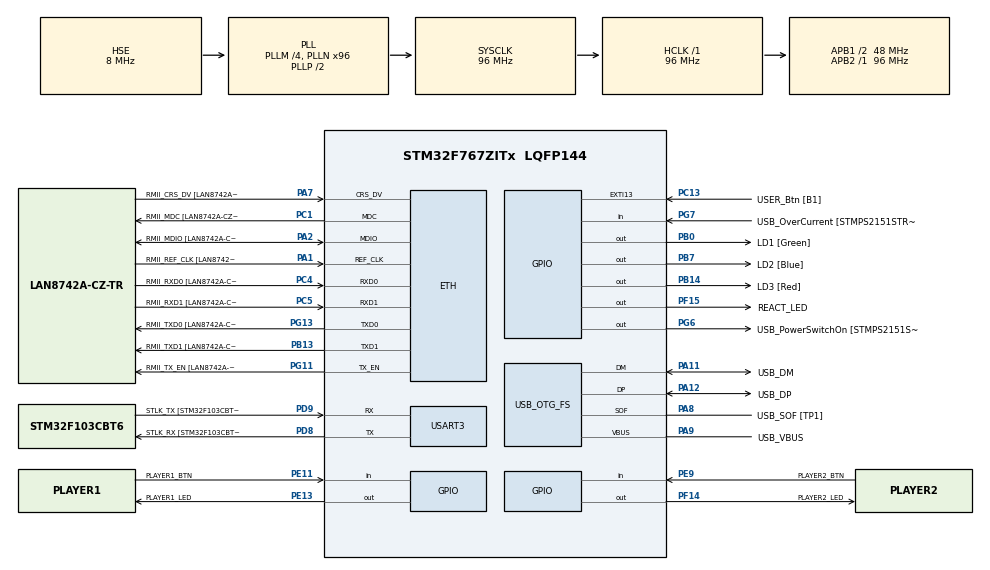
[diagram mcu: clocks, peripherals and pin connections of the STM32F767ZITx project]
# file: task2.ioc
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ETH.MediaInterface=HAL_ETH_RMII_MODE
ETH.PHY_Name=LAN8742A_PHY_ADDRESS
ETH.PHY_Value=0
ETH.PhyAddress=0
Mcu.Family=STM32F7
Mcu.Name=STM32F767ZITx
Mcu.Package=LQFP144
NVIC.PriorityGroup=NVIC_PRIORITYGROUP_4
PA1.GPIO_Label=RMII_REF_CLK [LAN8742A-CZ-TR_REFCLK0]
PA1.Mode=RMII
PA1.Signal=ETH_REF_CLK
PA10.GPIO_Label=USB_ID
PA10.Signal=USB_OTG_FS_ID
PA11.GPIO_Label=USB_DM
PA11.Mode=Device_Only
PA11.Signal=USB_OTG_FS_DM
PA12.GPIO_Label=USB_DP
PA12.Mode=Device_Only
PA12.Signal=USB_OTG_FS_DP
PA13.GPIO_Label=TMS
PA13.Mode=Serial_Wire
PA13.Signal=SYS_JTMS-SWDIO
PA14.GPIO_Label=TCK
PA14.Mode=Serial_Wire
PA14.Signal=SYS_JTCK-SWCLK
PA2.GPIO_Label=RMII_MDIO [LAN8742A-CZ-TR_MDIO]
PA2.Mode=RMII
PA2.Signal=ETH_MDIO
PA7.GPIO_Label=RMII_CRS_DV [LAN8742A-CZ-TR_CRS_DV]
PA7.Mode=RMII
PA7.Signal=ETH_CRS_DV
PA8.GPIO_Label=USB_SOF [TP1]
PA8.Mode=Activate_SOF_FS
PA8.Signal=USB_OTG_FS_SOF
PA9.GPIO_Label=USB_VBUS
PA9.Mode=Activate_VBUS
PA9.Signal=USB_OTG_FS_VBUS
PB0.GPIO_Label=LD1 [Green]
PB0.Signal=GPIO_Output
PB13.GPIO_Label=RMII_TXD1 [LAN8742A-CZ-TR_TXD1]
PB13.Mode=RMII
PB13.Signal=ETH_TXD1
PB14.GPIO_Label=LD3 [Red]
PB14.Signal=GPIO_Output
PB3.GPIO_Label=SWO
PB3.Signal=SYS_JTDO-SWO
PB7.GPIO_Label=LD2 [Blue]
PB7.Signal=GPIO_Output
PC1.GPIO_Label=RMII_MDC [LAN8742A-CZ-TR_MDC]
PC1.Mode=RMII
PC1.Signal=ETH_MDC
PC13.GPIO_Label=USER_Btn [B1]
PC13.Signal=GPXTI13
PC14/OSC32_IN.Mode=LSE-External-Oscillator
PC14/OSC32_IN.Signal=RCC_OSC32_IN
PC15/OSC32_OUT.Mode=LSE-External-Oscillator
PC15/OSC32_OUT.Signal=RCC_OSC32_OUT
PC4.GPIO_Label=RMII_RXD0 [LAN8742A-CZ-TR_RXD0]
PC4.Mode=RMII
PC4.Signal=ETH_RXD0
PC5.GPIO_Label=RMII_RXD1 [LAN8742A-CZ-TR_RXD1]
PC5.Mode=RMII
PC5.Signal=ETH_RXD1
PD8.GPIO_Label=STLK_RX [STM32F103CBT6_PA3]
PD8.Mode=Asynchronous
PD8.Signal=USART3_TX
PD9.GPIO_Label=STLK_TX [STM32F103CBT6_PA2]
PD9.Mode=Asynchronous
PD9.Signal=USART3_RX
PE11.GPIO_Label=PLAYER1_BTN
PE11.Signal=GPIO_Input
PE13.GPIO_Label=PLAYER1_LED
PE13.Signal=GPIO_Output
PE9.GPIO_Label=PLAYER2_BTN
PE9.Signal=GPIO_Input
PF14.GPIO_Label=PLAYER2_LED
PF14.Signal=GPIO_Output
PF15.GPIO_Label=REACT_LED
PF15.Signal=GPIO_Output
PG11.GPIO_Label=RMII_TX_EN [LAN8742A-CZ-TR_TXEN]
PG11.Mode=RMII
PG11.Signal=ETH_TX_EN
PG13.GPIO_Label=RMII_TXD0 [LAN8742A-CZ-TR_TXD0]
PG13.Mode=RMII
PG13.Signal=ETH_TXD0
PG6.GPIO_Label=USB_PowerSwitchOn [STMPS2151STR_EN]
PG6.Signal=GPIO_Output
PG7.GPIO_Label=USB_OverCurrent [STMPS2151STR_FAULT]
PG7.Signal=GPIO_Input
PH0/OSC_IN.GPIO_Label=MCO [STM32F103CBT6_PA8]
PH0/OSC_IN.Mode=HSE-External-Clock-Source
PH0/OSC_IN.Signal=RCC_OSC_IN
PH1/OSC_OUT.Mode=HSE-External-Clock-Source
PH1/OSC_OUT.Signal=RCC_OSC_OUT
ProjectManager.HeapSize=0x200
ProjectManager.StackSize=0x400
ProjectManager.TargetToolchain=STM32CubeIDE
RCC.48MHZClocksFreq_Value=24000000
RCC.AHBFreq_Value=96000000
RCC.APB1CLKDivider=RCC_HCLK_DIV2
RCC.APB1Freq_Value=48000000
RCC.APB1TimFreq_Value=96000000
RCC.APB2Freq_Value=96000000
RCC.APB2TimFreq_Value=96000000
RCC.CortexFreq_Value=96000000
RCC.HCLKFreq_Value=96000000
RCC.HSE_VALUE=8000000
RCC.HSI_VALUE=16000000
RCC.PLLM=4
RCC.PLLMUL=RCC_PLL_MUL9
RCC.PLLN=96
RCC.PLLQ=4
RCC.PRESCALERUSB=RCC_USBCLKSOURCE_PLL_DIV1_5
RCC.SYSCLKFreq_VALUE=96000000
RCC.SYSCLKSource=RCC_SYSCLKSOURCE_PLLCLK
RCC.SYSCLKSourceVirtual=RCC_SYSCLKSOURCE_PLLCLK
RCC.USBFreq_Value=48000000
RCC.VCOOutputFreq_Value=192000000
USART3.VirtualMode-Asynchronous=VM_ASYNC
USB_OTG_FS.VirtualMode=Device_Only
board=NUCLEO-F767ZI

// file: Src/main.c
/* USER CODE BEGIN Header */
/**
  ******************************************************************************
  * @file           : main.c
  * @brief          : Main program body
  ******************************************************************************
  * @attention
  *
  * Copyright (c) 2025 STMicroelectronics.
  * All rights reserved.
  *
  * This software is licensed under terms that can be found in the LICENSE file
  * in the root directory of this software component.
  * If no LICENSE file comes with this software, it is provided AS-IS.
  *
  ******************************************************************************
  */
/* USER CODE END Header */
#include "main.h"
#include "string.h"

/* USER CODE BEGIN Includes */
#include <stdlib.h>
#include <time.h>

/* USER CODE END Includes */

/* USER CODE BEGIN PTD */
typedef enum {
    WAIT_FOR_START,
    WAIT_FOR_BUTTON,
    GAME_OVER
} GameState;
GameState state;

uint32_t start_time;
uint32_t random_delay;

/* USER CODE END PTD */

#if defined ( __ICCARM__ ) /*!< IAR Compiler */
#pragma location=0x2007c000
ETH_DMADescTypeDef  DMARxDscrTab[ETH_RX_DESC_CNT]; /* Ethernet Rx DMA Descriptors */
#pragma location=0x2007c0a0
ETH_DMADescTypeDef  DMATxDscrTab[ETH_TX_DESC_CNT]; /* Ethernet Tx DMA Descriptors */

#elif defined ( __CC_ARM )  /* MDK ARM Compiler */

__attribute__((at(0x2007c000))) ETH_DMADescTypeDef  DMARxDscrTab[ETH_RX_DESC_CNT]; /* Ethernet Rx DMA Descriptors */
__attribute__((at(0x2007c0a0))) ETH_DMADescTypeDef  DMATxDscrTab[ETH_TX_DESC_CNT]; /* Ethernet Tx DMA Descriptors */

#elif defined ( __GNUC__ ) /* GNU Compiler */

ETH_DMADescTypeDef DMARxDscrTab[ETH_RX_DESC_CNT] __attribute__((section(".RxDecripSection"))); /* Ethernet Rx DMA Descriptors */
ETH_DMADescTypeDef DMATxDscrTab[ETH_TX_DESC_CNT] __attribute__((section(".TxDecripSection")));   /* Ethernet Tx DMA Descriptors */
#endif

ETH_TxPacketConfig TxConfig;

ETH_HandleTypeDef heth;

UART_HandleTypeDef huart3;

PCD_HandleTypeDef hpcd_USB_OTG_FS;

void SystemClock_Config(void);
static void MX_GPIO_Init(void);
static void MX_ETH_Init(void);
static void MX_USART3_UART_Init(void);
static void MX_USB_OTG_FS_PCD_Init(void);

/* USER CODE BEGIN 0 */
int generateRandomNumber(int min, int max) {
    int range_size = max - min + 1;
    return min + (rand() % range_size);
}

/* USER CODE END 0 */

int main(void)
{

  /* MCU Configuration--------------------------------------------------------*/

  /* Reset of all peripherals, Initializes the Flash interface and the Systick. */
  HAL_Init();

  /* Configure the system clock */
  SystemClock_Config();

  /* Initialize all configured peripherals */
  MX_GPIO_Init();
  MX_ETH_Init();
  MX_USART3_UART_Init();
  MX_USB_OTG_FS_PCD_Init();
  /* USER CODE BEGIN 2 */
  state = WAIT_FOR_START;
  start_time = HAL_GetTick();
  random_delay = generateRandomNumber(400, (int) (20000 / 2.5));

  HAL_GPIO_WritePin(PLAYER1_LED_GPIO_Port, PLAYER1_LED_Pin, GPIO_PIN_RESET);
  HAL_GPIO_WritePin(PLAYER2_LED_GPIO_Port, PLAYER2_LED_Pin, GPIO_PIN_RESET);
  HAL_GPIO_WritePin(REACT_LED_GPIO_Port, REACT_LED_Pin, GPIO_PIN_RESET);

  /* USER CODE END 2 */

  /* Infinite loop */
  while (1)
  {
    switch (state)
    {
    case WAIT_FOR_START:
    {
      uint32_t now = HAL_GetTick();
      if ((now - start_time) >= random_delay)
      {
        HAL_GPIO_WritePin(REACT_LED_GPIO_Port, REACT_LED_Pin, GPIO_PIN_SET);
        state = WAIT_FOR_BUTTON;
        start_time = now;
      }

      if (HAL_GPIO_ReadPin(PLAYER1_BTN_GPIO_Port, PLAYER1_BTN_Pin) == GPIO_PIN_SET)
      {
        HAL_GPIO_WritePin(PLAYER2_LED_GPIO_Port, PLAYER2_LED_Pin, GPIO_PIN_SET);
        state = GAME_OVER;
      }
      if (HAL_GPIO_ReadPin(PLAYER2_BTN_GPIO_Port, PLAYER2_BTN_Pin) == GPIO_PIN_SET)
      {
        HAL_GPIO_WritePin(PLAYER1_LED_GPIO_Port, PLAYER1_LED_Pin, GPIO_PIN_SET);
        state = GAME_OVER;
      }
      break;
    }

    case WAIT_FOR_BUTTON:
    {
      if (HAL_GPIO_ReadPin(PLAYER1_BTN_GPIO_Port, PLAYER1_BTN_Pin) == GPIO_PIN_SET)
      {
        HAL_GPIO_WritePin(PLAYER1_LED_GPIO_Port, PLAYER1_LED_Pin, GPIO_PIN_SET);
        state = GAME_OVER;
      }
      if (HAL_GPIO_ReadPin(PLAYER2_BTN_GPIO_Port, PLAYER2_BTN_Pin) == GPIO_PIN_SET)
      {
        HAL_GPIO_WritePin(PLAYER2_LED_GPIO_Port, PLAYER2_LED_Pin, GPIO_PIN_SET);
        state = GAME_OVER;
      }
      break;
    }

            case GAME_OVER: {
                break;
            }
            }
  }
  /* USER CODE END 3 */
}

void SystemClock_Config(void)
{
  RCC_OscInitTypeDef RCC_OscInitStruct = {0};
  RCC_ClkInitTypeDef RCC_ClkInitStruct = {0};

  /** Configure LSE Drive Capability
  */
  HAL_PWR_EnableBkUpAccess();

  /** Configure the main internal regulator output voltage
  */
  __HAL_RCC_PWR_CLK_ENABLE();
  __HAL_PWR_VOLTAGESCALING_CONFIG(PWR_REGULATOR_VOLTAGE_SCALE3);

  /** Initializes the RCC Oscillators according to the specified parameters
  * in the RCC_OscInitTypeDef structure.
  */
  RCC_OscInitStruct.OscillatorType = RCC_OSCILLATORTYPE_HSE;
  RCC_OscInitStruct.HSEState = RCC_HSE_BYPASS;
  RCC_OscInitStruct.PLL.PLLState = RCC_PLL_ON;
  RCC_OscInitStruct.PLL.PLLSource = RCC_PLLSOURCE_HSE;
  RCC_OscInitStruct.PLL.PLLM = 4;
  RCC_OscInitStruct.PLL.PLLN = 96;
  RCC_OscInitStruct.PLL.PLLP = RCC_PLLP_DIV2;
  RCC_OscInitStruct.PLL.PLLQ = 4;
  RCC_OscInitStruct.PLL.PLLR = 2;
  if (HAL_RCC_OscConfig(&RCC_OscInitStruct) != HAL_OK)
  {
    Error_Handler();
  }

  /** Activate the Over-Drive mode
  */
  if (HAL_PWREx_EnableOverDrive() != HAL_OK)
  {
    Error_Handler();
  }

  /** Initializes the CPU, AHB and APB buses clocks
  */
  RCC_ClkInitStruct.ClockType = RCC_CLOCKTYPE_HCLK|RCC_CLOCKTYPE_SYSCLK
                              |RCC_CLOCKTYPE_PCLK1|RCC_CLOCKTYPE_PCLK2;
  RCC_ClkInitStruct.SYSCLKSource = RCC_SYSCLKSOURCE_PLLCLK;
  RCC_ClkInitStruct.AHBCLKDivider = RCC_SYSCLK_DIV1;
  RCC_ClkInitStruct.APB1CLKDivider = RCC_HCLK_DIV2;
  RCC_ClkInitStruct.APB2CLKDivider = RCC_HCLK_DIV1;

  if (HAL_RCC_ClockConfig(&RCC_ClkInitStruct, FLASH_LATENCY_3) != HAL_OK)
  {
    Error_Handler();
  }
}

static void MX_ETH_Init(void)
{

   static uint8_t MACAddr[6];

  heth.Instance = ETH;
  MACAddr[0] = 0x00;
  MACAddr[1] = 0x80;
  MACAddr[2] = 0xE1;
  MACAddr[3] = 0x00;
  MACAddr[4] = 0x00;
  MACAddr[5] = 0x00;
  heth.Init.MACAddr = &MACAddr[0];
  heth.Init.MediaInterface = HAL_ETH_RMII_MODE;
  heth.Init.TxDesc = DMATxDscrTab;
  heth.Init.RxDesc = DMARxDscrTab;
  heth.Init.RxBuffLen = 1524;

  if (HAL_ETH_Init(&heth) != HAL_OK)
  {
    Error_Handler();
  }

  memset(&TxConfig, 0 , sizeof(ETH_TxPacketConfig));
  TxConfig.Attributes = ETH_TX_PACKETS_FEATURES_CSUM | ETH_TX_PACKETS_FEATURES_CRCPAD;
  TxConfig.ChecksumCtrl = ETH_CHECKSUM_IPHDR_PAYLOAD_INSERT_PHDR_CALC;
  TxConfig.CRCPadCtrl = ETH_CRC_PAD_INSERT;

}

static void MX_USART3_UART_Init(void)
{

  huart3.Instance = USART3;
  huart3.Init.BaudRate = 115200;
  huart3.Init.WordLength = UART_WORDLENGTH_8B;
  huart3.Init.StopBits = UART_STOPBITS_1;
  huart3.Init.Parity = UART_PARITY_NONE;
  huart3.Init.Mode = UART_MODE_TX_RX;
  huart3.Init.HwFlowCtl = UART_HWCONTROL_NONE;
  huart3.Init.OverSampling = UART_OVERSAMPLING_16;
  huart3.Init.OneBitSampling = UART_ONE_BIT_SAMPLE_DISABLE;
  huart3.AdvancedInit.AdvFeatureInit = UART_ADVFEATURE_NO_INIT;
  if (HAL_UART_Init(&huart3) != HAL_OK)
  {
    Error_Handler();
  }

}

static void MX_USB_OTG_FS_PCD_Init(void)
{

  hpcd_USB_OTG_FS.Instance = USB_OTG_FS;
  hpcd_USB_OTG_FS.Init.dev_endpoints = 6;
  hpcd_USB_OTG_FS.Init.speed = PCD_SPEED_FULL;
  hpcd_USB_OTG_FS.Init.dma_enable = DISABLE;
  hpcd_USB_OTG_FS.Init.phy_itface = PCD_PHY_EMBEDDED;
  hpcd_USB_OTG_FS.Init.Sof_enable = ENABLE;
  hpcd_USB_OTG_FS.Init.low_power_enable = DISABLE;
  hpcd_USB_OTG_FS.Init.lpm_enable = DISABLE;
  hpcd_USB_OTG_FS.Init.vbus_sensing_enable = ENABLE;
  hpcd_USB_OTG_FS.Init.use_dedicated_ep1 = DISABLE;
  if (HAL_PCD_Init(&hpcd_USB_OTG_FS) != HAL_OK)
  {
    Error_Handler();
  }

}

static void MX_GPIO_Init(void)
{
  GPIO_InitTypeDef GPIO_InitStruct = {0};

  /* GPIO Ports Clock Enable */
  __HAL_RCC_GPIOC_CLK_ENABLE();
  __HAL_RCC_GPIOH_CLK_ENABLE();
  __HAL_RCC_GPIOA_CLK_ENABLE();
  __HAL_RCC_GPIOB_CLK_ENABLE();
  __HAL_RCC_GPIOF_CLK_ENABLE();
  __HAL_RCC_GPIOE_CLK_ENABLE();
  __HAL_RCC_GPIOD_CLK_ENABLE();
  __HAL_RCC_GPIOG_CLK_ENABLE();

  /*Configure GPIO pin Output Level */
  HAL_GPIO_WritePin(GPIOB, LD1_Pin|LD3_Pin|LD2_Pin, GPIO_PIN_RESET);

  /*Configure GPIO pin Output Level */
  HAL_GPIO_WritePin(GPIOF, PLAYER2_LED_Pin|REACT_LED_Pin, GPIO_PIN_RESET);

  /*Configure GPIO pin Output Level */
  HAL_GPIO_WritePin(PLAYER1_LED_GPIO_Port, PLAYER1_LED_Pin, GPIO_PIN_RESET);

  /*Configure GPIO pin Output Level */
  HAL_GPIO_WritePin(USB_PowerSwitchOn_GPIO_Port, USB_PowerSwitchOn_Pin, GPIO_PIN_RESET);

  /*Configure GPIO pin : USER_Btn_Pin */
  GPIO_InitStruct.Pin = USER_Btn_Pin;
  GPIO_InitStruct.Mode = GPIO_MODE_IT_RISING;
  GPIO_InitStruct.Pull = GPIO_NOPULL;
  HAL_GPIO_Init(USER_Btn_GPIO_Port, &GPIO_InitStruct);

  /*Configure GPIO pins : LD1_Pin LD3_Pin LD2_Pin */
  GPIO_InitStruct.Pin = LD1_Pin|LD3_Pin|LD2_Pin;
  GPIO_InitStruct.Mode = GPIO_MODE_OUTPUT_PP;
  GPIO_InitStruct.Pull = GPIO_NOPULL;
  GPIO_InitStruct.Speed = GPIO_SPEED_FREQ_LOW;
  HAL_GPIO_Init(GPIOB, &GPIO_InitStruct);

  /*Configure GPIO pins : PLAYER2_LED_Pin REACT_LED_Pin */
  GPIO_InitStruct.Pin = PLAYER2_LED_Pin|REACT_LED_Pin;
  GPIO_InitStruct.Mode = GPIO_MODE_OUTPUT_PP;
  GPIO_InitStruct.Pull = GPIO_NOPULL;
  GPIO_InitStruct.Speed = GPIO_SPEED_FREQ_LOW;
  HAL_GPIO_Init(GPIOF, &GPIO_InitStruct);

  /*Configure GPIO pins : PLAYER2_BTN_Pin PLAYER1_BTN_Pin */
  GPIO_InitStruct.Pin = PLAYER2_BTN_Pin|PLAYER1_BTN_Pin;
  GPIO_InitStruct.Mode = GPIO_MODE_INPUT;
  GPIO_InitStruct.Pull = GPIO_NOPULL;
  HAL_GPIO_Init(GPIOE, &GPIO_InitStruct);

  /*Configure GPIO pin : PLAYER1_LED_Pin */
  GPIO_InitStruct.Pin = PLAYER1_LED_Pin;
  GPIO_InitStruct.Mode = GPIO_MODE_OUTPUT_PP;
  GPIO_InitStruct.Pull = GPIO_NOPULL;
  GPIO_InitStruct.Speed = GPIO_SPEED_FREQ_LOW;
  HAL_GPIO_Init(PLAYER1_LED_GPIO_Port, &GPIO_InitStruct);

  /*Configure GPIO pin : USB_PowerSwitchOn_Pin */
  GPIO_InitStruct.Pin = USB_PowerSwitchOn_Pin;
  GPIO_InitStruct.Mode = GPIO_MODE_OUTPUT_PP;
  GPIO_InitStruct.Pull = GPIO_NOPULL;
  GPIO_InitStruct.Speed = GPIO_SPEED_FREQ_LOW;
  HAL_GPIO_Init(USB_PowerSwitchOn_GPIO_Port, &GPIO_InitStruct);

  /*Configure GPIO pin : USB_OverCurrent_Pin */
  GPIO_InitStruct.Pin = USB_OverCurrent_Pin;
  GPIO_InitStruct.Mode = GPIO_MODE_INPUT;
  GPIO_InitStruct.Pull = GPIO_NOPULL;
  HAL_GPIO_Init(USB_OverCurrent_GPIO_Port, &GPIO_InitStruct);

}

void Error_Handler(void)
{
  __disable_irq();
  while (1)
  {
  }
}
